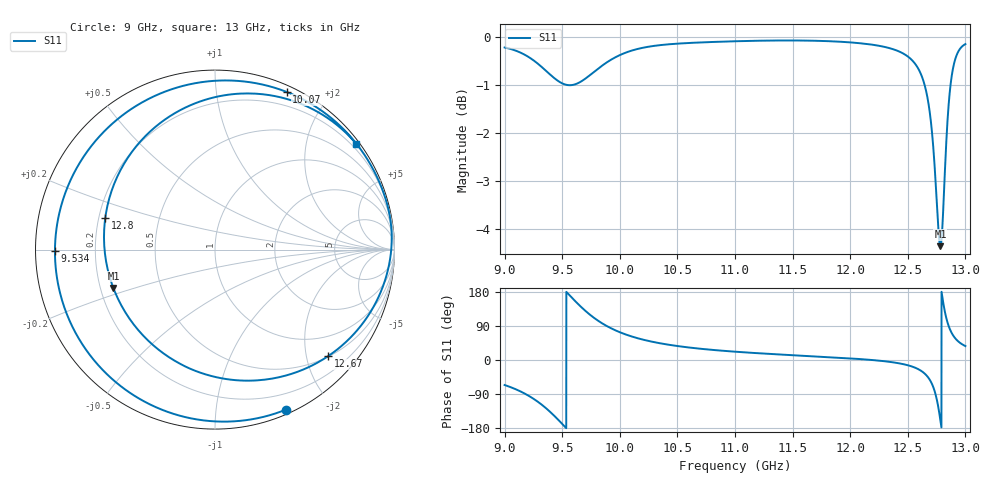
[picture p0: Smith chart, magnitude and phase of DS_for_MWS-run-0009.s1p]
! TOUCHSTONE file generated by CST DESIGN STUDIO
! Date and time: Tue Feb  4 12:44:48 2025
! Project name: C:\Work\MatlabApps\UnitCellOptimizationMatlab\CST\unitcell.cst
! Tree item: Tasks\Sweep1\SPara1\S-Parameters
! Header version: 2024
! Port assignment regex: !\s*Touchstone port\s*([0-9]+)\s*=\s*(CST MWS port|CST DES external port|CST DES block port)\s*(.+)\s* \(\"(.*)\"\)(\s*mode\s*([0-9]+))?.*
! Touchstone port assignment:
! Touchstone port 1 = CST DES external port 1 ("")
# GHz S MA R 50
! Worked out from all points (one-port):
!   4001 points, 9 GHz to 13 GHz, reference 50 ohm
!   lowest |S11| = -4.4 dB at 12.78 GHz (marker M1), VSWR 4.07, Z = 12.7 - j8.58 ohm
!   |S11| at or under -10 dB: nowhere
!   S11 on the Smith chart (normalised r, x): 9 GHz: 0.04, -1.54; 9.534 GHz: 0.06, -0.00; 10.07 GHz: 0.06, +1.55; 12.67 GHz: 0.51, -2.42; 12.8 GHz: 0.23, +0.14; 13 GHz: 0.09, +3.01
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9  0.9752 -66.0
9.171  0.9589 -88.0
9.288  0.9381 -110.1
9.39  0.9151 -135.4
9.5  0.8948 -168.6
9.534  0.8918 -179.6
9.625  0.8939 151.6
9.747  0.9138 118.1
9.857  0.9356 94.9
10  0.9576 73.3
10.068  0.9649 65.6
10.258  0.9774 49.7
10.5  0.9843 36.9
11  0.9899 21.9
11.5  0.9918 12.7
12  0.9872 4.2
12.5  0.9544 -13.8
12.604  0.9205 -26.4
12.67  0.8656 -43.3
12.706  0.8049 -60.7
12.739  0.7141 -88.3
12.761  0.6428 -117.9
12.783  0.6054 -159.3
12.801  0.6366 163.8
12.83  0.7597 116.0
12.86  0.8653 85.3
12.918  0.9533 55.1
13  0.9832 36.8
